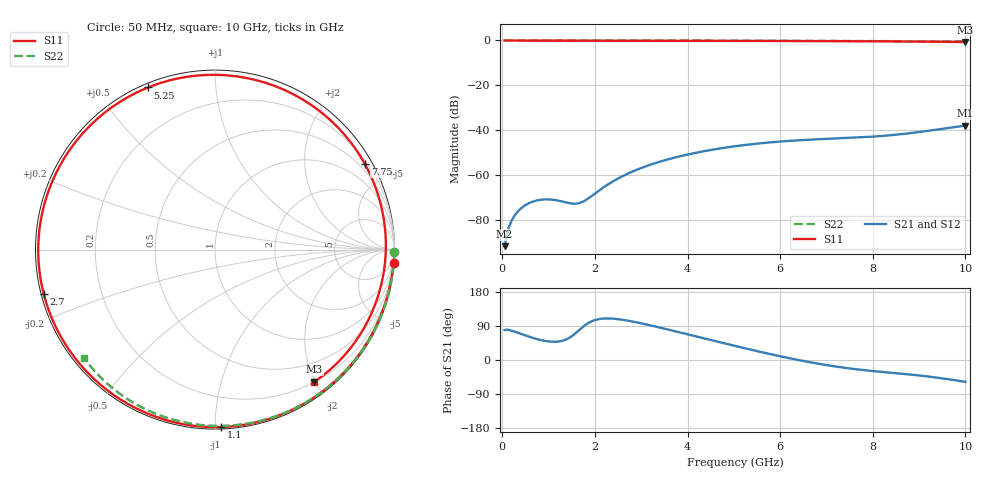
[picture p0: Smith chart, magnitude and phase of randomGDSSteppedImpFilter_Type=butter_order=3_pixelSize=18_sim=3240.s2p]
! freq	dB(S11)	phase(S11)	dB(S12)	phase(S12)
!  dB(S21)	phase(S21)	dB(S22)	phase(S22)
!S-par simulation data
#  GHz  S  DB  R 50
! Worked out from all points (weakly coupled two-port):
!   200 points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, 50 MHz to 10 GHz, reference 50 ohm
!   highest |S21| = -38.00 dB at 10 GHz (marker M1); lowest = -91.8 dB at 50 MHz (marker M2)
!   lowest |S11| = -0.7 dB at 10 GHz (marker M3), VSWR 24.47, Z = 10.2 - j99.4 ohm
!   |S11| at or under -10 dB: nowhere
!   |S22| runs from -0.5 to 0.0 dB; largest |S21 - S12| = 0
!   S11 on the Smith chart (normalised r, x): 50 MHz: 1, -27; 1.1 GHz: 0.01, -1.04; 2.7 GHz: 0.01, -0.13; 5.25 GHz: 0.02, +0.67; 7.75 GHz: 0.30, +3.76; 10 GHz: 0.20, -1.99
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0.05  -0.01 -4.3  -91.79 79.1  -91.79 79.1  -0.00 -0.8
0.2  -0.05 -17.6  -80.45 77.4  -80.45 77.4  -0.00 -3.2
0.4  -0.06 -35.0  -75.00 68.9  -75.00 68.9  -0.01 -6.4
0.6  -0.07 -51.5  -72.39 60.6  -72.39 60.6  -0.01 -9.7
0.85  -0.08 -70.6  -71.04 52.2  -71.04 52.2  -0.02 -13.7
1.1  -0.09 -87.9  -71.10 48.1  -71.10 48.1  -0.02 -17.7
1.55  -0.11 -114.7  -72.84 67.3  -72.84 67.3  -0.03 -24.9
1.75  -0.11 -125.1  -71.82 88.3  -71.82 88.3  -0.04 -28.0
2.2  -0.12 -145.8  -65.36 109.5  -65.36 109.5  -0.04 -35.0
2.7  -0.13 -165.6  -59.52 104.0  -59.52 104.0  -0.06 -42.7
3.4  -0.14 170.1  -54.11 85.7  -54.11 85.7  -0.07 -53.2
4.2  -0.16 144.7  -50.03 61.8  -50.03 61.8  -0.09 -64.9
5.05  -0.19 118.6  -47.14 36.4  -47.14 36.4  -0.12 -77.0
5.25  -0.20 112.4  -46.62 30.6  -46.62 30.6  -0.13 -79.7
6  -0.23 88.8  -45.11 9.9  -45.11 9.9  -0.16 -89.9
6.7  -0.27 65.8  -44.21 -7.1  -44.21 -7.1  -0.19 -99.1
7.2  -0.30 48.8  -43.74 -17.2  -43.74 -17.2  -0.22 -105.6
7.75  -0.34 29.6  -43.22 -25.9  -43.22 -25.9  -0.26 -112.6
8.35  -0.40 8.1  -42.35 -33.1  -42.35 -33.1  -0.31 -120.1
8.75  -0.45 -6.5  -41.50 -37.7  -41.50 -37.7  -0.34 -125.0
9.15  -0.52 -21.3  -40.45 -42.9  -40.45 -42.9  -0.38 -129.9
10  -0.71 -53.0  -38.00 -57.7  -38.00 -57.7  -0.48 -140.4
